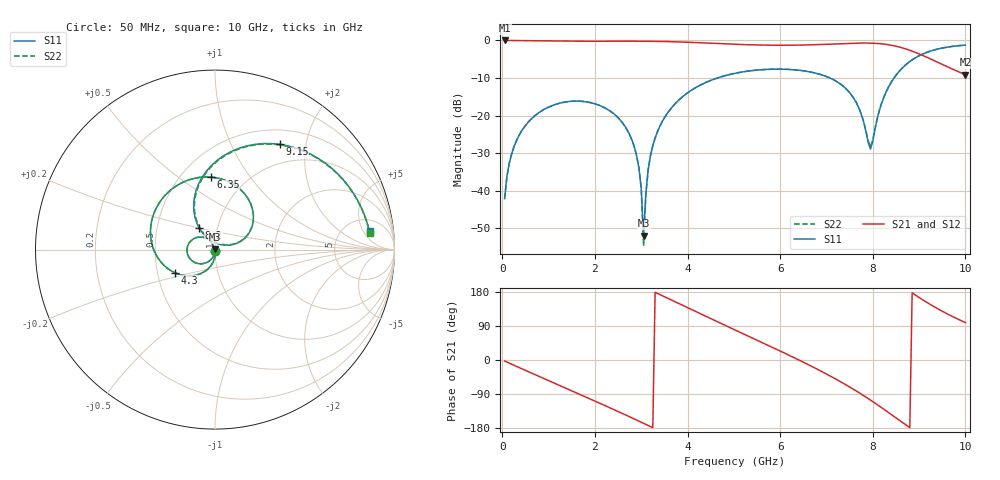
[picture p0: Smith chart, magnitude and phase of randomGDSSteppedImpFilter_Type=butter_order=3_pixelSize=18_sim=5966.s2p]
! freq	dB(S11)	phase(S11)	dB(S12)	phase(S12)
!  dB(S21)	phase(S21)	dB(S22)	phase(S22)
!S-par simulation data
#  GHz  S  DB  R 50
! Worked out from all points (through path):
!   200 points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, 50 MHz to 10 GHz, reference 50 ohm
!   highest |S21| = 0.00 dB at 50 MHz (marker M1); lowest = -9.1 dB at 10 GHz (marker M2)
!   group delay of S21, straight-line fit = 171 ps
!   lowest |S11| = -52.0 dB at 3.05 GHz (marker M3), VSWR 1.01, Z = 49.8 + j0.0749 ohm
!   |S11| at or under -10 dB: start of sweep to 4.643 GHz; 7.076 GHz to 8.459 GHz (1.383 GHz wide, 17.8 % of centre)
!   |S22| runs from -54.7 to -1.2 dB; largest |S21 - S12| = 0
!   S11 on the Smith chart (normalised r, x): 50 MHz: 1.00, -0.02; 4.3 GHz: 0.61, -0.17; 6.35 GHz: 0.69, +0.67; 8.2 GHz: 0.81, +0.20; 9.15 GHz: 0.70, +1.56; 10 GHz: 8, +7
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0.05  -42.08 -91.7  -0.00 -2.8  -0.00 -2.8  -42.08 -91.7
0.2  -30.24 -100.7  -0.02 -11.0  -0.02 -11.0  -30.24 -100.8
0.5  -22.63 -117.8  -0.06 -27.4  -0.06 -27.4  -22.63 -117.9
1.75  -16.23 174.5  -0.21 -94.9  -0.21 -94.9  -16.23 174.2
2.4  -19.43 139.4  -0.20 -130.4  -0.20 -130.4  -19.44 138.8
2.8  -26.50 118.3  -0.19 -152.8  -0.19 -152.8  -26.50 116.7
3  -39.32 114.5  -0.20 -164.2  -0.20 -164.2  -39.43 106.9
3.05  -51.96 162.7  -0.21 -167.0  -0.21 -167.0  -54.72 134.3
3.1  -40.77 -91.8  -0.21 -169.9  -0.21 -169.9  -40.92 -83.0
3.15  -34.34 -88.9  -0.22 -172.8  -0.22 -172.8  -34.38 -84.7
3.4  -22.88 -99.4  -0.26 172.8  -0.26 172.8  -22.88 -98.3
4.3  -11.73 -150.3  -0.63 120.6  -0.63 120.6  -11.73 -150.0
5.05  -8.68 167.3  -1.03 77.8  -1.03 77.8  -8.68 167.4
6.35  -7.86 93.4  -1.25 3.3  -1.25 3.3  -7.86 93.4
6.7  -8.51 72.7  -1.16 -17.9  -1.16 -17.9  -8.51 72.7
7.55  -14.68 21.9  -0.75 -74.8  -0.75 -74.8  -14.66 22.3
7.95  -28.91 71.0  -0.72 -105.7  -0.72 -105.7  -28.24 70.8
8.2  -16.39 126.2  -0.92 -126.6  -0.92 -126.6  -16.34 124.7
8.35  -12.18 118.6  -1.17 -139.6  -1.17 -139.6  -12.16 117.6
8.7  -6.61 92.7  -2.20 -170.1  -2.20 -170.1  -6.60 91.9
9.15  -3.25 58.5  -4.37 153.4  -4.37 153.4  -3.25 57.9
10  -1.24 6.7  -9.10 98.7  -9.10 98.7  -1.24 6.3
